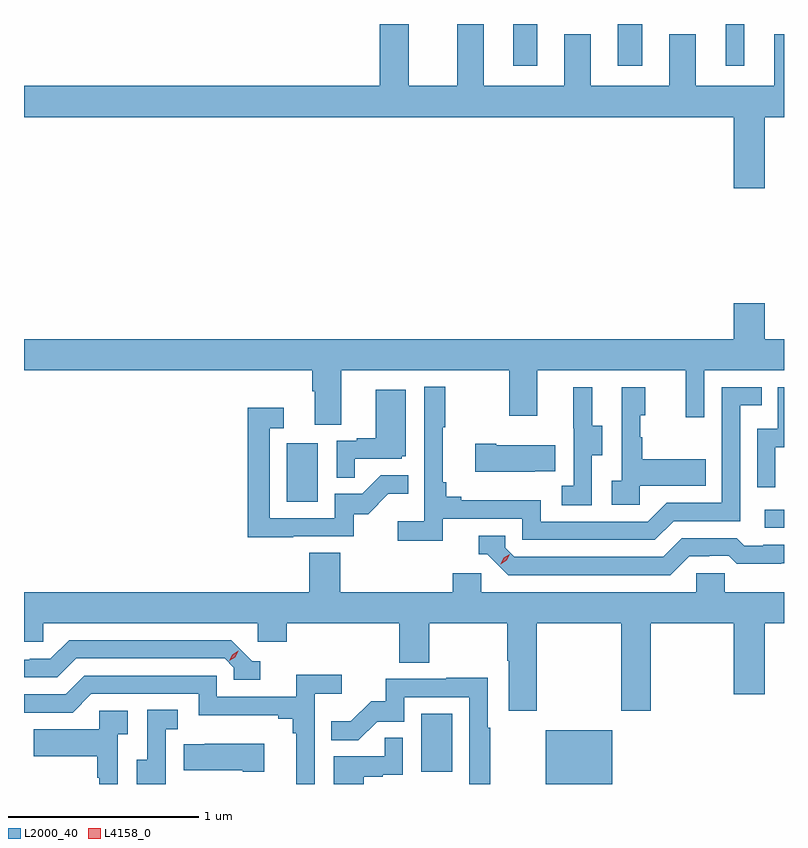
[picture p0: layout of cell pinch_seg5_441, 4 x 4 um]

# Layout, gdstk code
import gdstk
lib = gdstk.Library(unit=1e-6, precision=1e-09)
def R(c, l, rs):  # rectangles x0, y0, x1, y1
    for r in rs: c.add(gdstk.rectangle(r[:2], r[2:], *l))
def P(c, l, *ps):  # polygons
    for p in ps: c.add(gdstk.Polygon(p, *l))
L2000_40 = (2000, 40)
L4158_0 = (4158, 0)

pinch_seg5_441 = lib.new_cell('pinch_seg5_441')
R(pinch_seg5_441, L2000_40, [(895.286,867.902,895.636,868.186), (894.632,867.966,894.796,868.273), (896.439,869.25,896.541,869.346), (893.924,869.388,894.088,869.695), (895.115,871.683,895.243,871.902), (895.667,871.683,895.795,871.902), (896.234,871.683,896.332,871.902)])
P(pinch_seg5_441, L2000_40, [(896.44,871.412),(896.541,871.412),(896.541,871.849),(896.489,871.849),(896.489,871.576),(896.077,871.576),(896.077,871.849),(895.937,871.849),(895.937,871.576),(895.525,871.576),(895.525,871.849),(895.385,871.849),(895.385,871.576),(894.961,871.576),(894.961,871.902),(894.821,871.902),(894.821,871.576),(894.565,871.576),(894.565,871.902),(894.413,871.902),(894.413,871.576),(892.541,871.576),(892.541,871.412),(896.276,871.412),(896.276,871.038),(896.44,871.038)],
  [(894.211,870.08),(895.096,870.08),(895.096,869.841),(895.243,869.841),(895.243,870.08),(896.024,870.08),(896.024,869.832),(896.121,869.832),(896.121,870.08),(896.541,870.08),(896.541,870.244),(896.44,870.244),(896.44,870.433),(896.276,870.433),(896.276,870.244),(892.541,870.244),(892.541,870.08),(894.059,870.08),(894.059,869.968),(894.071,869.968),(894.071,869.794),(894.211,869.794)],
  [(894.746,869.298),(895.164,869.298),(895.164,869.187),(895.861,869.187),(895.96,869.286),(896.31,869.286),(896.31,869.895),(896.423,869.895),(896.423,869.991),(896.214,869.991),(896.214,869.382),(895.923,869.382),(895.824,869.283),(895.26,869.283),(895.26,869.395),(894.841,869.395),(894.841,869.414),(894.764,869.414),(894.764,869.491),(894.745,869.491),(894.745,869.779),(894.757,869.779),(894.757,869.992),(894.648,869.992),(894.648,869.284),(894.507,869.284),(894.507,869.182),(894.746,869.182)],
  [(896.496,869.675),(896.541,869.675),(896.541,869.991),(896.508,869.991),(896.508,869.772),(896.4,869.772),(896.4,869.463),(896.496,869.463)],
  [(895.53,869.632),(895.585,869.632),(895.585,869.787),(895.531,869.787),(895.531,869.989),(895.433,869.989),(895.433,869.775),(895.434,869.775),(895.434,869.471),(895.371,869.471),(895.371,869.368),(895.53,869.368)],
  [(895.782,869.471),(896.129,869.471),(896.129,869.611),(895.795,869.611),(895.795,869.726),(895.785,869.726),(895.785,869.844),(895.81,869.844),(895.81,869.989),(895.686,869.989),(895.686,869.498),(895.635,869.498),(895.635,869.373),(895.782,869.373)],
  [(894.281,869.613),(894.528,869.613),(894.528,869.628),(894.55,869.628),(894.55,869.977),(894.392,869.977),(894.392,869.722),(894.293,869.722),(894.293,869.709),(894.186,869.709),(894.186,869.515),(894.281,869.515)],
  [(893.957,869.205),(894.276,869.205),(894.276,869.322),(894.352,869.322),(894.459,869.429),(894.563,869.429),(894.563,869.528),(894.419,869.528),(894.321,869.43),(894.177,869.43),(894.177,869.301),(893.835,869.301),(893.835,869.775),(893.908,869.775),(893.908,869.881),(893.719,869.881),(893.719,869.2),(893.957,869.2)],
  [(895.229,869.549),(895.337,869.549),(895.337,869.686),(895.027,869.686),(895.027,869.694),(894.915,869.694),(894.915,869.546),(895.229,869.546)],
  [(896.041,869.1),(896.148,869.1),(896.148,869.103),(896.251,869.103),(896.293,869.061),(896.526,869.061),(896.526,869.063),(896.541,869.063),(896.541,869.16),(896.431,869.16),(896.431,869.157),(896.332,869.157),(896.293,869.196),(896.004,869.196),(895.905,869.097),(895.122,869.097),(895.074,869.145),(895.074,869.208),(894.935,869.208),(894.935,869.112),(894.978,869.112),(895.089,869.001),(895.942,869.001)],
  [(895.239,868.748),(895.684,868.748),(895.684,868.287),(895.839,868.287),(895.839,868.748),(896.276,868.748),(896.276,868.374),(896.44,868.374),(896.44,868.748),(896.541,868.748),(896.541,868.912),(896.229,868.912),(896.229,869.01),(896.079,869.01),(896.079,868.912),(894.948,868.912),(894.948,869.01),(894.797,869.01),(894.797,868.912),(894.206,868.912),(894.206,869.12),(894.041,869.12),(894.041,868.912),(892.541,868.912),(892.541,868.65),(892.641,868.65),(892.641,868.748),(893.772,868.748),(893.772,868.65),(893.924,868.65),(893.924,868.748),(894.515,868.748),(894.515,868.54),(894.675,868.54),(894.675,868.748),(895.084,868.748),(895.084,868.552),(895.091,868.552),(895.091,868.287),(895.239,868.287)],
  [(893.785,868.548),(893.742,868.548),(893.631,868.659),(892.778,868.659),(892.679,868.56),(892.572,868.56),(892.572,868.557),(892.541,868.557),(892.541,868.464),(892.716,868.464),(892.815,868.563),(893.598,868.563),(893.646,868.515),(893.646,868.452),(893.785,868.452)],
  [(894.072,868.376),(894.214,868.376),(894.214,868.478),(893.975,868.478),(893.975,868.362),(893.556,868.362),(893.556,868.473),(892.859,868.473),(892.76,868.374),(892.541,868.374),(892.541,868.278),(892.797,868.278),(892.896,868.377),(893.46,868.377),(893.46,868.265),(893.879,868.265),(893.879,868.246),(893.956,868.246),(893.956,868.169),(893.975,868.169),(893.975,867.902),(894.072,867.902)],
  [(894.994,868.199),(894.981,868.199),(894.981,868.46),(894.763,868.46),(894.763,868.455),(894.445,868.455),(894.445,868.338),(894.368,868.338),(894.261,868.231),(894.157,868.231),(894.157,868.132),(894.301,868.132),(894.399,868.23),(894.543,868.23),(894.543,868.359),(894.885,868.359),(894.885,867.902),(894.994,867.902)],
  [(893.286,868.189),(893.35,868.189),(893.35,868.292),(893.19,868.292),(893.19,868.029),(893.135,868.029),(893.135,867.902),(893.286,867.902)],
  [(893.034,868.163),(893.086,868.163),(893.086,868.287),(892.938,868.287),(892.938,868.189),(892.591,868.189),(892.591,868.049),(892.926,868.049),(892.926,867.935),(892.936,867.935),(892.936,867.902),(893.034,867.902)],
  [(894.328,867.939),(894.428,867.939),(894.428,867.951),(894.534,867.951),(894.534,868.145),(894.439,868.145),(894.439,868.047),(894.17,868.047),(894.17,867.902),(894.328,867.902)],
  [(893.806,868.114),(893.491,868.114),(893.491,868.111),(893.383,868.111),(893.383,867.974),(893.693,867.974),(893.693,867.967),(893.806,867.967)])
P(pinch_seg5_441, L4158_0, [(895.051,869.059),(895.051,869.059),(895.066,869.092),(895.097,869.112),(895.097,869.112),(895.097,869.112),(895.082,869.079),(895.051,869.059)],
  [(893.62,868.55),(893.62,868.55),(893.637,868.583),(893.668,868.603),(893.668,868.603),(893.668,868.602),(893.652,868.57),(893.621,868.55)])

lib.write_gds('pinch_seg5_441.gds')
